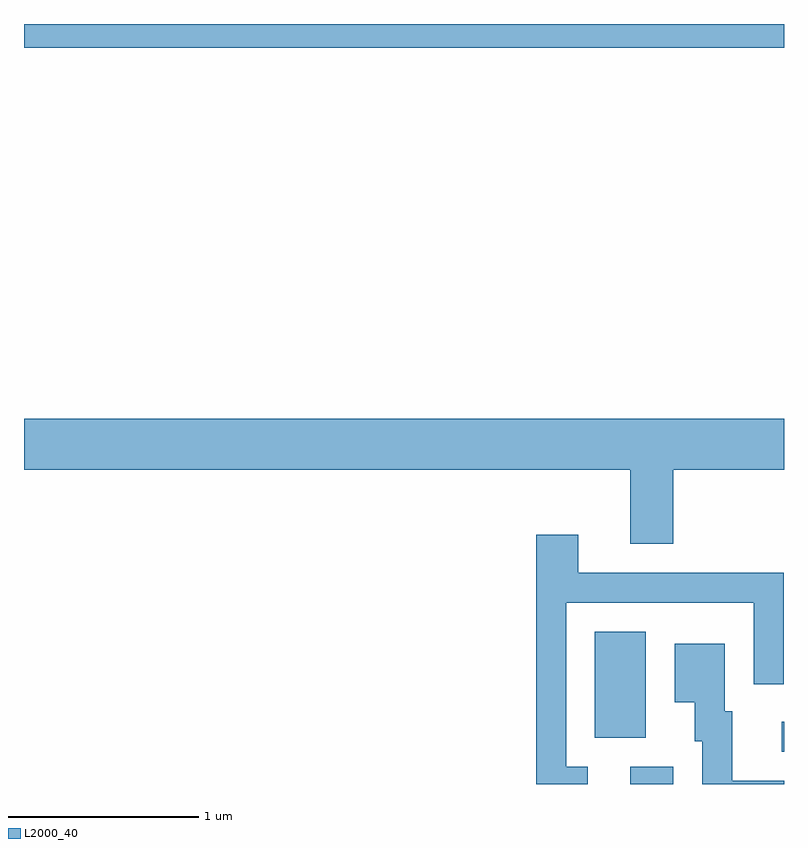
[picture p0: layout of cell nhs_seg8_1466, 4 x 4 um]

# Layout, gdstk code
import gdstk
lib = gdstk.Library(unit=1e-6, precision=1e-09)
def R(c, l, rs):  # rectangles x0, y0, x1, y1
    for r in rs: c.add(gdstk.rectangle(r[:2], r[2:], *l))
def P(c, l, *ps):  # polygons
    for p in ps: c.add(gdstk.Polygon(p, *l))
L2000_40 = (2000, 40)

nhs_seg8_1466 = lib.new_cell('nhs_seg8_1466')
R(nhs_seg8_1466, L2000_40, [(232.801,1810.342,233.029,1810.434), (233.598,1810.511,233.611,1810.669), (232.616,1810.586,232.884,1811.144), (229.611,1814.216,233.611,1814.342)])
P(nhs_seg8_1466, L2000_40, [(233.029,1811.996),(233.611,1811.996),(233.611,1812.264),(229.611,1812.264),(229.611,1811.996),(232.801,1811.996),(232.801,1811.606),(233.029,1811.606)],
  [(232.578,1810.434),(232.464,1810.434),(232.464,1811.296),(233.451,1811.296),(233.451,1810.868),(233.609,1810.868),(233.609,1811.454),(232.529,1811.454),(232.529,1811.654),(232.306,1811.654),(232.306,1810.342),(232.578,1810.342)],
  [(233.611,1810.359),(233.339,1810.359),(233.339,1810.724),(233.299,1810.724),(233.299,1811.079),(233.036,1811.079),(233.036,1810.771),(233.141,1810.771),(233.141,1810.566),(233.181,1810.566),(233.181,1810.342),(233.611,1810.342)])

lib.write_gds('nhs_seg8_1466.gds')
